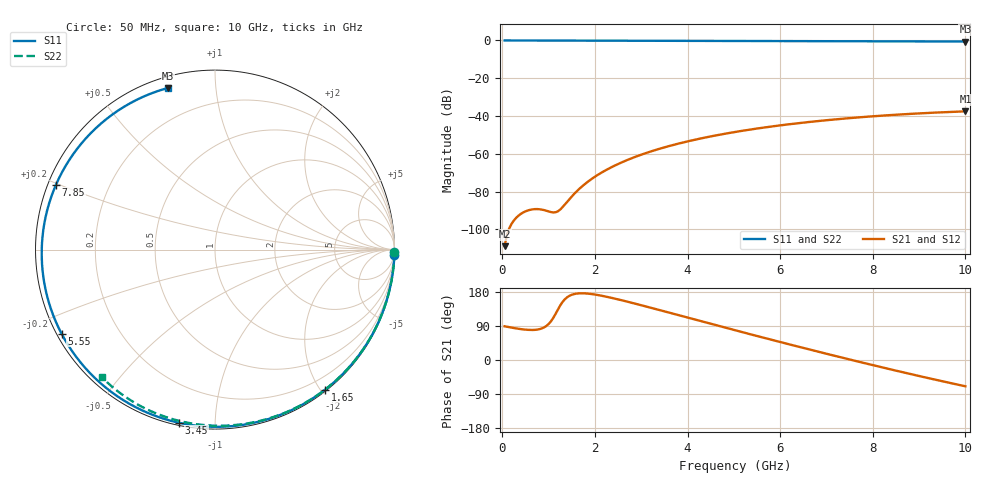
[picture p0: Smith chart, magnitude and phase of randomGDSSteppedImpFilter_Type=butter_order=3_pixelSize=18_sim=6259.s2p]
! freq	dB(S11)	phase(S11)	dB(S12)	phase(S12)
!  dB(S21)	phase(S21)	dB(S22)	phase(S22)
!S-par simulation data
#  GHz  S  DB  R 50
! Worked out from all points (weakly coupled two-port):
!   200 points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, 50 MHz to 10 GHz, reference 50 ohm
!   highest |S21| = -37.54 dB at 10 GHz (marker M1); lowest = -108.9 dB at 50 MHz (marker M2)
!   lowest |S11| = -0.6 dB at 10 GHz (marker M3), VSWR 31.21, Z = 2.51 + j37.5 ohm
!   |S11| at or under -10 dB: nowhere
!   |S22| runs from -0.4 to 0.0 dB; largest |S21 - S12| = 0
!   S11 on the Smith chart (normalised r, x): 50 MHz: 0, -70; 1.65 GHz: 0.02, -2.06; 3.45 GHz: 0.01, -0.81; 5.55 GHz: 0.01, -0.26; 7.85 GHz: 0.02, +0.20; 10 GHz: 0.05, +0.75
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0.05  -0.00 -1.6  -108.91 89.0  -108.91 89.0  -0.00 -0.8
0.4  -0.02 -12.9  -91.82 81.5  -91.82 81.5  -0.01 -6.1
0.8  -0.03 -25.6  -89.35 81.3  -89.35 81.3  -0.02 -12.1
1.2  -0.05 -38.2  -90.46 133.0  -90.46 133.0  -0.02 -18.1
1.6  -0.06 -50.4  -80.02 175.1  -80.02 175.1  -0.03 -24.0
1.65  -0.06 -51.9  -78.84 175.8  -78.84 175.8  -0.03 -24.8
1.75  -0.07 -54.8  -76.68 176.0  -76.68 176.0  -0.03 -26.2
2.05  -0.08 -63.6  -71.35 171.7  -71.35 171.7  -0.04 -30.6
2.45  -0.09 -75.0  -65.99 161.4  -65.99 161.4  -0.05 -36.4
2.9  -0.11 -87.3  -61.37 147.7  -61.37 147.7  -0.06 -42.9
3.4  -0.12 -100.4  -57.31 131.6  -57.31 131.6  -0.07 -50.0
3.45  -0.13 -101.7  -56.96 130.0  -56.96 130.0  -0.07 -50.7
4.2  -0.15 -120.2  -52.33 105.4  -52.33 105.4  -0.09 -61.0
5.05  -0.19 -140.1  -48.36 77.7  -48.36 77.7  -0.11 -72.3
5.55  -0.22 -151.3  -46.46 61.7  -46.46 61.7  -0.13 -78.8
6.15  -0.26 -164.6  -44.50 42.8  -44.50 42.8  -0.15 -86.4
6.7  -0.30 -176.7  -42.97 25.7  -42.97 25.7  -0.18 -93.2
7.25  -0.34 171.2  -41.65 8.9  -41.65 8.9  -0.21 -99.9
7.85  -0.38 157.8  -40.43 -9.1  -40.43 -9.1  -0.25 -107.0
8.35  -0.42 146.4  -39.56 -23.7  -39.56 -23.7  -0.29 -112.8
9.25  -0.50 124.9  -38.31 -49.2  -38.31 -49.2  -0.37 -123.2
10  -0.56 106.1  -37.54 -69.3  -37.54 -69.3  -0.45 -131.7
